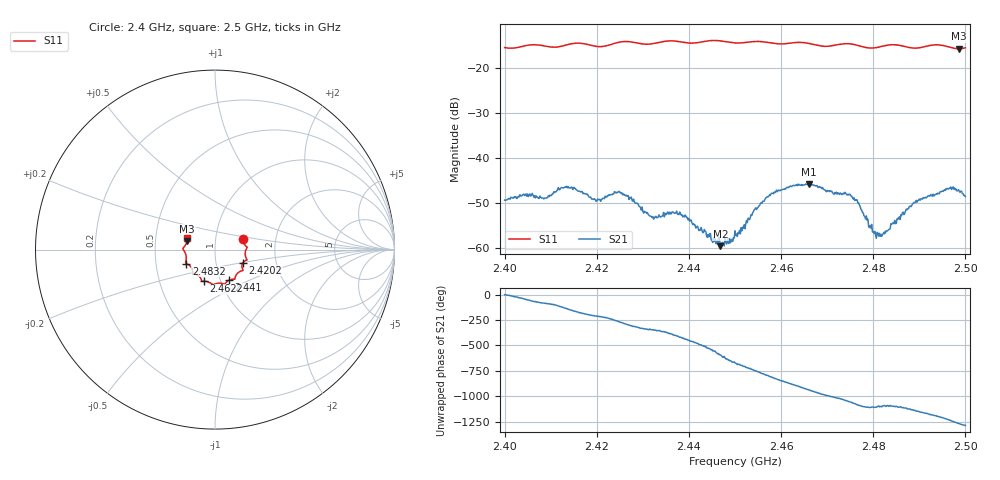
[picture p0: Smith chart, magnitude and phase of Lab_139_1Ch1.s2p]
# Hz S RI R 50
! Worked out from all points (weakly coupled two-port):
!   601 points, 2.4 GHz to 2.5 GHz, reference 50 ohm
!   highest |S21| = -45.72 dB at 2.466 GHz (marker M1); lowest = -59.5 dB at 2.4468 GHz (marker M2)
!   lowest |S11| = -15.8 dB at 2.4987 GHz (marker M3), VSWR 1.39, Z = 36.4 + j3.38 ohm
!   |S11| at or under -10 dB: start of sweep to end of sweep
!   S12 and S22 are empty: the file has one direction only
!   S11 on the Smith chart (normalised r, x): 2.4 GHz: 1.36, +0.17; 2.4202 GHz: 1.35, -0.20; 2.441 GHz: 1.09, -0.39; 2.4622 GHz: 0.83, -0.30; 2.4832 GHz: 0.72, -0.12; 2.5 GHz: 0.73, +0.09
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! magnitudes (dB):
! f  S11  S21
! 2.4 GHz  -15.5  -49.3
! 2.4088 GHz  -15.2  -48.8
! 2.413 GHz  -15.1  -46.5
! 2.4167 GHz  -14.6  -47.4
! 2.4202 GHz  -15.3  -49.1
! 2.425 GHz  -14.3  -47.6
! 2.4333 GHz  -14.4  -53.1
! 2.4368 GHz  -14.1  -52.3
! 2.441 GHz  -14.5  -54.6
! 2.4468 GHz  -14.1  -59.5
! 2.45 GHz  -14.5  -56.1
! 2.457 GHz  -14.4  -48.6
! 2.4622 GHz  -14.5  -46.2
! 2.466 GHz  -14.6  -45.7
! 2.4667 GHz  -14.7  -45.9
! 2.475 GHz  -14.7  -48.1
! 2.4803 GHz  -15.6  -56.2
! 2.4832 GHz  -15.0  -56.1
! 2.4833 GHz  -15.0  -55.8
! 2.4895 GHz  -15.7  -49.8
! 2.4987 GHz  -15.8  -47.3
! 2.5 GHz  -15.6  -48.5
